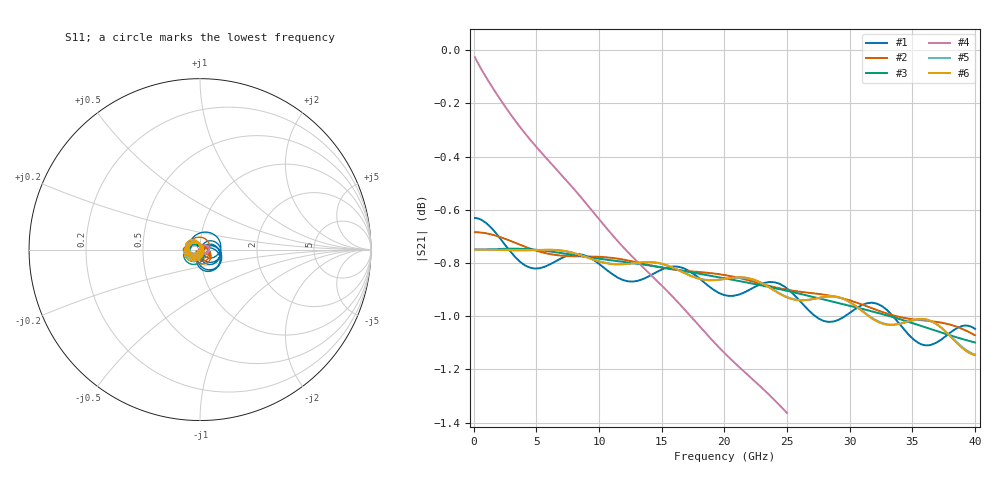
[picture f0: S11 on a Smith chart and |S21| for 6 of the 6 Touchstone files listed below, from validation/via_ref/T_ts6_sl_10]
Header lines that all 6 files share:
# Hz S RI R 50
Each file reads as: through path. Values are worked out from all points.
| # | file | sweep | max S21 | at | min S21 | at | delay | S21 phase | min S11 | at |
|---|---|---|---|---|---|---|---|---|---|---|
| 1 | cst.s2p | 100 MHz to 40 GHz | -0.63 dB | 100 MHz | -1.1 dB | 36.1 GHz | 67.4 ps | -127 deg at 20.1 GHz | -42.2 dB | 7.9 GHz |
| 2 | cst_fine.s2p | 100 MHz to 40 GHz | -0.68 dB | 200 MHz | -1.1 dB | 40 GHz | 67.1 ps | -125 deg at 20.1 GHz | -71.2 dB | 16.5 GHz |
| 3 | kisi.s2p | 100 MHz to 40 GHz | -0.75 dB | 3.1 GHz | -1.1 dB | 40 GHz | 67.1 ps | -124 deg at 20.1 GHz | -60.7 dB | 7.3 GHz |
| 4 | kisi_model.s2p | 100 MHz to 25 GHz | -0.03 dB | 100 MHz | -1.4 dB | 25 GHz | 63.3 ps | 70 deg at 12.6 GHz | -50.1 dB | 7.8 GHz |
| 5 | openems.s2p | 100 MHz to 40 GHz | -0.75 dB | 300 MHz | -1.1 dB | 40 GHz | 67.1 ps | -125 deg at 20.1 GHz | -53.7 dB | 7.4 GHz |
| 6 | openems_base.s2p | 100 MHz to 40 GHz | -0.75 dB | 200 MHz | -1.1 dB | 40 GHz | 67.1 ps | -124 deg at 20.1 GHz | -53.5 dB | 7.3 GHz |
